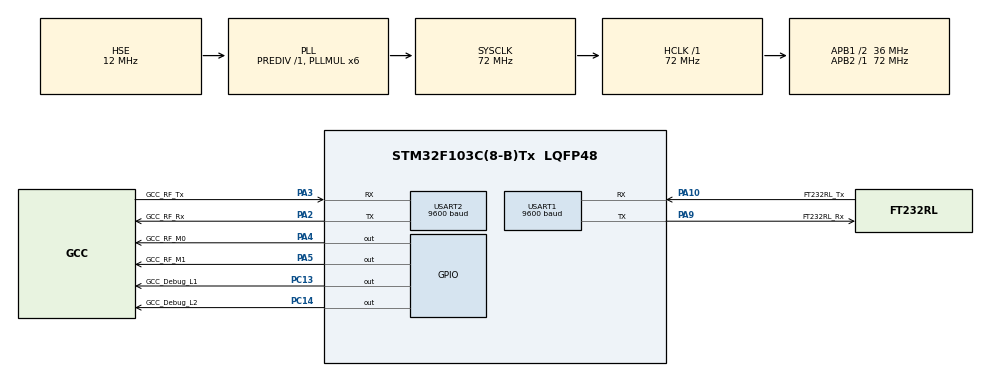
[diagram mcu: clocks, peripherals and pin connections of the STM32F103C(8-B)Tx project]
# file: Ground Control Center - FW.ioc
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Mcu.Family=STM32F1
Mcu.Name=STM32F103C(8-B)Tx
Mcu.Package=LQFP48
NVIC.PriorityGroup=NVIC_PRIORITYGROUP_4
NVIC.USART1_IRQn=true\:0\:0\:false\:true\:true\:2\:true\:true\:true
NVIC.USART2_IRQn=true\:0\:0\:false\:true\:true\:1\:true\:true\:true
PA10.GPIO_Label=FT232RL_Tx
PA10.Mode=Asynchronous
PA10.Signal=USART1_RX
PA13.Mode=Serial_Wire
PA13.Signal=SYS_JTMS-SWDIO
PA14.Mode=Serial_Wire
PA14.Signal=SYS_JTCK-SWCLK
PA2.GPIO_Label=GCC_RF_Rx
PA2.Mode=Asynchronous
PA2.Signal=USART2_TX
PA3.GPIO_Label=GCC_RF_Tx
PA3.Mode=Asynchronous
PA3.Signal=USART2_RX
PA4.GPIO_Label=GCC_RF_M0
PA4.Signal=GPIO_Output
PA5.GPIO_Label=GCC_RF_M1
PA5.Signal=GPIO_Output
PA9.GPIO_Label=FT232RL_Rx
PA9.Mode=Asynchronous
PA9.Signal=USART1_TX
PC13-TAMPER-RTC.GPIO_Label=GCC_Debug_L1
PC13-TAMPER-RTC.Signal=GPIO_Output
PC14-OSC32_IN.GPIO_Label=GCC_Debug_L2
PC14-OSC32_IN.Signal=GPIO_Output
PD0-OSC_IN.Mode=HSE-External-Oscillator
PD0-OSC_IN.Signal=RCC_OSC_IN
PD1-OSC_OUT.Mode=HSE-External-Oscillator
PD1-OSC_OUT.Signal=RCC_OSC_OUT
ProjectManager.HeapSize=0x200
ProjectManager.StackSize=0x400
ProjectManager.TargetToolchain=STM32CubeIDE
RCC.AHBFreq_Value=72000000
RCC.APB1CLKDivider=RCC_HCLK_DIV2
RCC.APB1Freq_Value=36000000
RCC.APB1TimFreq_Value=72000000
RCC.APB2Freq_Value=72000000
RCC.APB2TimFreq_Value=72000000
RCC.HCLKFreq_Value=72000000
RCC.HSE_VALUE=12000000
RCC.PLLMUL=RCC_PLL_MUL6
RCC.PLLSourceVirtual=RCC_PLLSOURCE_HSE
RCC.SYSCLKFreq_VALUE=72000000
RCC.SYSCLKSource=RCC_SYSCLKSOURCE_PLLCLK
RCC.USBFreq_Value=72000000
USART1.BaudRate=9600
USART1.VirtualMode=VM_ASYNC
USART2.BaudRate=9600
USART2.VirtualMode=VM_ASYNC
board=custom

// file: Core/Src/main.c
/* USER CODE BEGIN Header */
/**
  ******************************************************************************
  * @file           : main.c
  * @brief          : Main program body
  ******************************************************************************
  * @attention
  *
  * Copyright (c) 2023 STMicroelectronics.
  * All rights reserved.
  *
  * This software is licensed under terms that can be found in the LICENSE file
  * in the root directory of this software component.
  * If no LICENSE file comes with this software, it is provided AS-IS.
  *
  ******************************************************************************
  */
/* USER CODE END Header */
#include "main.h"
#include "usart.h"
#include "gpio.h"

/* USER CODE BEGIN PV */
uint8_t pc_rx = 0;
uint8_t gs_rx = 0;

/* USER CODE END PV */

void SystemClock_Config(void);
static void MX_NVIC_Init(void);

int main(void)
{

  /* MCU Configuration--------------------------------------------------------*/

  /* Reset of all peripherals, Initializes the Flash interface and the Systick. */
  HAL_Init();

  /* Configure the system clock */
  SystemClock_Config();

  /* Initialize all configured peripherals */
  MX_GPIO_Init();
  MX_USART1_UART_Init();
  MX_USART2_UART_Init();

  /* Initialize interrupts */
  MX_NVIC_Init();
  /* USER CODE BEGIN 2 */
  HAL_UART_Receive_IT(&huart1, &pc_rx, 1);
  HAL_UART_Receive_IT(&huart2, &gs_rx, 1);

  HAL_GPIO_WritePin(GCC_RF_M0_GPIO_Port, GCC_RF_M0_Pin, GPIO_PIN_RESET);
  HAL_GPIO_WritePin(GCC_RF_M1_GPIO_Port, GCC_RF_M1_Pin, GPIO_PIN_RESET);

  /* USER CODE END 2 */

  /* Infinite loop */
  while (1)
  {

  }
}

void SystemClock_Config(void)
{
  RCC_OscInitTypeDef RCC_OscInitStruct = {0};
  RCC_ClkInitTypeDef RCC_ClkInitStruct = {0};

  /** Initializes the RCC Oscillators according to the specified parameters
  * in the RCC_OscInitTypeDef structure.
  */
  RCC_OscInitStruct.OscillatorType = RCC_OSCILLATORTYPE_HSE;
  RCC_OscInitStruct.HSEState = RCC_HSE_ON;
  RCC_OscInitStruct.HSEPredivValue = RCC_HSE_PREDIV_DIV1;
  RCC_OscInitStruct.HSIState = RCC_HSI_ON;
  RCC_OscInitStruct.PLL.PLLState = RCC_PLL_ON;
  RCC_OscInitStruct.PLL.PLLSource = RCC_PLLSOURCE_HSE;
  RCC_OscInitStruct.PLL.PLLMUL = RCC_PLL_MUL6;
  if (HAL_RCC_OscConfig(&RCC_OscInitStruct) != HAL_OK)
  {
    Error_Handler();
  }

  /** Initializes the CPU, AHB and APB buses clocks
  */
  RCC_ClkInitStruct.ClockType = RCC_CLOCKTYPE_HCLK|RCC_CLOCKTYPE_SYSCLK
                              |RCC_CLOCKTYPE_PCLK1|RCC_CLOCKTYPE_PCLK2;
  RCC_ClkInitStruct.SYSCLKSource = RCC_SYSCLKSOURCE_PLLCLK;
  RCC_ClkInitStruct.AHBCLKDivider = RCC_SYSCLK_DIV1;
  RCC_ClkInitStruct.APB1CLKDivider = RCC_HCLK_DIV2;
  RCC_ClkInitStruct.APB2CLKDivider = RCC_HCLK_DIV1;

  if (HAL_RCC_ClockConfig(&RCC_ClkInitStruct, FLASH_LATENCY_2) != HAL_OK)
  {
    Error_Handler();
  }
}

/**
  * @brief NVIC Configuration.
  * @retval None
  */
static void MX_NVIC_Init(void)
{
  /* USART2_IRQn interrupt configuration */
  HAL_NVIC_SetPriority(USART2_IRQn, 0, 0);
  HAL_NVIC_EnableIRQ(USART2_IRQn);
  /* USART1_IRQn interrupt configuration */
  HAL_NVIC_SetPriority(USART1_IRQn, 0, 0);
  HAL_NVIC_EnableIRQ(USART1_IRQn);
}

/* USER CODE BEGIN 4 */
void HAL_UART_RxCpltCallback(UART_HandleTypeDef *huart) {
	if(huart->Instance == USART1) {
	    HAL_UART_Receive_IT(&huart1, &pc_rx, 1);
	    HAL_UART_Transmit(&huart2, &pc_rx, 1, 100);
	    HAL_GPIO_TogglePin(GCC_Debug_L1_GPIO_Port, GCC_Debug_L1_Pin);

	}
	if(huart->Instance == USART2) {
		HAL_UART_Receive_IT(&huart2, &gs_rx, 1);
		HAL_UART_Transmit(&huart1, &gs_rx, 1, 100);
		HAL_GPIO_TogglePin(GCC_Debug_L2_GPIO_Port, GCC_Debug_L2_Pin);
	}
}

/* USER CODE END 4 */

void Error_Handler(void)
{
  __disable_irq();
  while (1)
  {
  }
}
